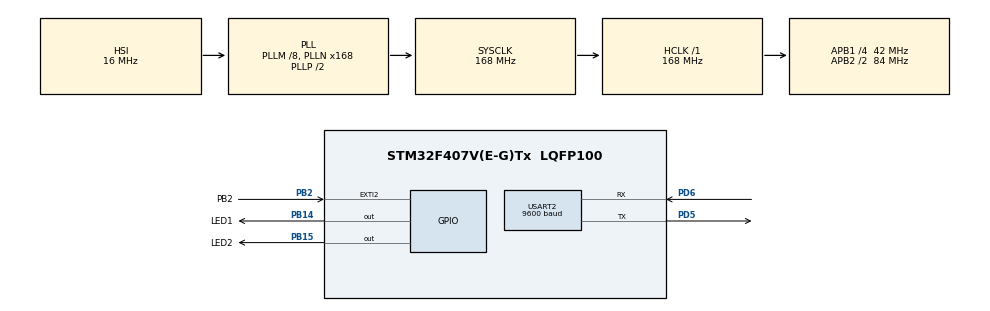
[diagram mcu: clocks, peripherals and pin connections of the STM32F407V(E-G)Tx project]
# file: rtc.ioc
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Mcu.Family=STM32F4
Mcu.Name=STM32F407V(E-G)Tx
Mcu.Package=LQFP100
NVIC.EXTI2_IRQn=true\:0\:0\:false\:false\:true\:true\:true
NVIC.PriorityGroup=NVIC_PRIORITYGROUP_4
NVIC.RTC_Alarm_IRQn=true\:0\:0\:false\:false\:true\:true\:true
PA13.Mode=Serial_Wire
PA13.Signal=SYS_JTMS-SWDIO
PA14.Mode=Serial_Wire
PA14.Signal=SYS_JTCK-SWCLK
PB14.GPIO_Label=LED1
PB14.Signal=GPIO_Output
PB15.GPIO_Label=LED2
PB15.Signal=GPIO_Output
PB2.GPIO_Label=PB2
PB2.GPIO_ModeDefaultEXTI=GPIO_MODE_IT_FALLING
PB2.GPIO_PuPd=GPIO_PULLUP
PB2.Signal=GPXTI2
PD5.Mode=Asynchronous
PD5.Signal=USART2_TX
PD6.Mode=Asynchronous
PD6.Signal=USART2_RX
ProjectManager.HeapSize=0x200
ProjectManager.StackSize=0x400
ProjectManager.TargetToolchain=MDK-ARM V5.27
RCC.48MHZClocksFreq_Value=84000000
RCC.AHBFreq_Value=168000000
RCC.APB1CLKDivider=RCC_HCLK_DIV4
RCC.APB1Freq_Value=42000000
RCC.APB1TimFreq_Value=84000000
RCC.APB2CLKDivider=RCC_HCLK_DIV2
RCC.APB2Freq_Value=84000000
RCC.APB2TimFreq_Value=168000000
RCC.CortexFreq_Value=168000000
RCC.HCLKFreq_Value=168000000
RCC.HSE_VALUE=25000000
RCC.HSI_VALUE=16000000
RCC.LSE_VALUE=32768
RCC.PLLM=8
RCC.PLLN=168
RCC.SYSCLKFreq_VALUE=168000000
RCC.SYSCLKSource=RCC_SYSCLKSOURCE_PLLCLK
RCC.VCOOutputFreq_Value=336000000
RTC.Alarm=RTC_ALARM_A
RTC.AlarmDateWeekDaySel=RTC_ALARMDATEWEEKDAYSEL_DATE
RTC.HourFormat=RTC_HOURFORMAT_24
RTC.Hours=2
RTC.Hours_A=2
RTC.Minutes=20
RTC.Minutes_A=20
RTC.Seconds_A=30
RTC.Year=21
USART2.BaudRate=9600
USART2.VirtualMode=VM_ASYNC
VP_RTC_VS_RTC_Activate.Mode=RTC_Enabled
VP_RTC_VS_RTC_Alarm_A_Intern.Mode=Alarm A
VP_RTC_VS_RTC_Calendar.Mode=RTC_Calendar
board=custom

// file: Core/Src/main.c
/* USER CODE BEGIN Header */
/**
  ******************************************************************************
  * @file           : main.c
  * @brief          : Main program body
  ******************************************************************************
  * @attention
  *
  * <h2><center>&copy; Copyright (c) 2021 STMicroelectronics.
  * All rights reserved.</center></h2>
  *
  * This software component is licensed by ST under BSD 3-Clause license,
  * the "License"; You may not use this file except in compliance with the
  * License. You may obtain a copy of the License at:
  *                        opensource.org/licenses/BSD-3-Clause
  *
  ******************************************************************************
  */
/* USER CODE END Header */
#include "main.h"
#include "rtc.h"
#include "usart.h"
#include "gpio.h"

/* USER CODE BEGIN Includes */
#include "string.h"
#include "stdio.h"
/* USER CODE END Includes */

/* USER CODE BEGIN PD */
struct __FILE { int handle; /* Add whatever you need here */ };
FILE __stdout;
FILE __stdin;

int fputc(int c, FILE *f) {
  return (HAL_UART_Transmit(&huart2,( uint8_t * )&c,1,1000));
}

int fgetc(FILE *f) {
	uint8_t c;
	HAL_UART_Receive(&huart2,&c,1,0xffff);
	return c;
}

int ferror(FILE *f) {
  /* Your implementation of ferror */
  return EOF;
}
/* USER CODE END PD */

/* USER CODE BEGIN PM */

volatile RTC_TimeTypeDef Time1,Time2;
char str[10];
uint32_t bkp;
int i;
RTC_TimeTypeDef Time;
RTC_DateTypeDef Date;
char segment = 0;
char seg_str[4];
int counter = 0;

/* USER CODE END PM */

void HAL_RTC_AlarmAEventCallback(RTC_HandleTypeDef *hrtc)
{
    HAL_GPIO_WritePin(LED1_GPIO_Port, LED1_Pin, GPIO_PIN_SET);
}

/* USER CODE BEGIN PV */
/**
  * @brief  EXTI line detection callbacks.
  * @param  GPIO_Pin Specifies the pins connected EXTI line
  * @retval None
  */
void HAL_GPIO_EXTI_Callback(uint16_t GPIO_Pin)
{
	  if(HAL_GPIO_ReadPin(PB2_GPIO_Port,PB2_Pin) == GPIO_PIN_RESET)
		{
			HAL_PWR_EnterSTANDBYMode();
		}

}

/* USER CODE END PV */

void SystemClock_Config(void);

/* USER CODE BEGIN 0 */
typedef void callback(void);

typedef struct softTimer {
 uint8_t state; //state
 uint8_t mode; //mode
 uint32_t match; //expiration time
 uint32_t period; // timing period
 callback *cb; //callback function pointer
}softTimer;

typedef enum tmrState {
 SOFT_TIMER_STOPPED = 0, //stop
 SOFT_TIMER_RUNNING, //Run
 SOFT_TIMER_TIMEOUT // timeout
}tmrState;

typedef enum tmrMode {
 MODE_ONE_SHOT = 0, // single mode
 MODE_PERIODIC, //cycle mode
}tmrMode;

#define TIMER_NUM 2

volatile softTimer timer[TIMER_NUM]; //software timer array

void softTimer_Init(void)
{
		uint16_t i;

		for(i=0; i<TIMER_NUM; i++)
		{
				timer[i].state = SOFT_TIMER_STOPPED;
				timer[i].mode = MODE_ONE_SHOT;
				timer[i].match = 0;
				timer[i].period = 0;
				timer[i].cb = NULL;
		}
}

void softTimer_Start(uint16_t id, tmrMode mode, uint32_t delay, callback *cb)
{
    timer[id].match = HAL_GetTick() + delay;
    timer[id].period = delay;
    timer[id].state = SOFT_TIMER_RUNNING;
    timer[id].mode = mode;
    timer[id].cb = cb;
}

void softTimer_Stop(uint16_t id)
{
    assert_param(id < TIMER_NUM);
    timer[id].state = SOFT_TIMER_STOPPED;
}

uint8_t softTimer_GetState(uint16_t id)
{
    return timer[id].state;
}

void softTimer_Update(void)
{
    uint16_t i;

    for(i=0; i<TIMER_NUM; i++) {
      switch (timer[i].state) {
          case SOFT_TIMER_STOPPED:
              break;

          case SOFT_TIMER_RUNNING:
              if(timer[i].match <= HAL_GetTick())
							{
                  timer[i].state = SOFT_TIMER_TIMEOUT;
								  timer[i].match = HAL_GetTick() + timer[i].period;
									timer[i].cb(); //Execute callback function
              }
              break;

          case SOFT_TIMER_TIMEOUT:
              if(timer[i].mode == MODE_ONE_SHOT) {
                  timer[i].state = SOFT_TIMER_STOPPED;
              } else {
                  //timer[i].match = HAL_GetTick() + timer[i].period;
                  timer[i].state = SOFT_TIMER_RUNNING;
              }
              break;

          default:
              break;
      }
  }

}

void display(char digit)
{
	HAL_GPIO_WritePin(A_7SEG_GPIO_Port,A_7SEG_Pin,GPIO_PIN_RESET);
	HAL_GPIO_WritePin(B_7SEG_GPIO_Port,B_7SEG_Pin,GPIO_PIN_RESET);
	HAL_GPIO_WritePin(C_7SEG_GPIO_Port,C_7SEG_Pin,GPIO_PIN_RESET);
	HAL_GPIO_WritePin(D_7SEG_GPIO_Port,D_7SEG_Pin,GPIO_PIN_RESET);
	HAL_GPIO_WritePin(E_7SEG_GPIO_Port,E_7SEG_Pin,GPIO_PIN_RESET);
	HAL_GPIO_WritePin(F_7SEG_GPIO_Port,F_7SEG_Pin,GPIO_PIN_RESET);
	HAL_GPIO_WritePin(G_7SEG_GPIO_Port,G_7SEG_Pin,GPIO_PIN_RESET);
	HAL_GPIO_WritePin(H_7SEG_GPIO_Port,H_7SEG_Pin,GPIO_PIN_RESET);
 switch (digit)
 {
	 case 0:
			HAL_GPIO_WritePin(A_7SEG_GPIO_Port,A_7SEG_Pin,GPIO_PIN_SET);
			HAL_GPIO_WritePin(B_7SEG_GPIO_Port,B_7SEG_Pin,GPIO_PIN_SET);
			HAL_GPIO_WritePin(C_7SEG_GPIO_Port,C_7SEG_Pin,GPIO_PIN_SET);
			HAL_GPIO_WritePin(D_7SEG_GPIO_Port,D_7SEG_Pin,GPIO_PIN_SET);
			HAL_GPIO_WritePin(E_7SEG_GPIO_Port,E_7SEG_Pin,GPIO_PIN_SET);
			HAL_GPIO_WritePin(F_7SEG_GPIO_Port,F_7SEG_Pin,GPIO_PIN_SET);
		 break;
	 case 1:
			HAL_GPIO_WritePin(B_7SEG_GPIO_Port,B_7SEG_Pin,GPIO_PIN_SET);
	    HAL_GPIO_WritePin(C_7SEG_GPIO_Port,C_7SEG_Pin,GPIO_PIN_SET);
		 break;
	 case 2:
			HAL_GPIO_WritePin(A_7SEG_GPIO_Port,A_7SEG_Pin,GPIO_PIN_SET);
			HAL_GPIO_WritePin(B_7SEG_GPIO_Port,B_7SEG_Pin,GPIO_PIN_SET);
			HAL_GPIO_WritePin(D_7SEG_GPIO_Port,D_7SEG_Pin,GPIO_PIN_SET);
			HAL_GPIO_WritePin(E_7SEG_GPIO_Port,E_7SEG_Pin,GPIO_PIN_SET);
	    HAL_GPIO_WritePin(G_7SEG_GPIO_Port,G_7SEG_Pin,GPIO_PIN_SET);
		 break;
	 case 3:
		 	HAL_GPIO_WritePin(A_7SEG_GPIO_Port,A_7SEG_Pin,GPIO_PIN_SET);
			HAL_GPIO_WritePin(B_7SEG_GPIO_Port,B_7SEG_Pin,GPIO_PIN_SET);
			HAL_GPIO_WritePin(C_7SEG_GPIO_Port,C_7SEG_Pin,GPIO_PIN_SET);
			HAL_GPIO_WritePin(D_7SEG_GPIO_Port,D_7SEG_Pin,GPIO_PIN_SET);
	    HAL_GPIO_WritePin(G_7SEG_GPIO_Port,G_7SEG_Pin,GPIO_PIN_SET);
		 break;
	 case 4:
			HAL_GPIO_WritePin(B_7SEG_GPIO_Port,B_7SEG_Pin,GPIO_PIN_SET);
			HAL_GPIO_WritePin(C_7SEG_GPIO_Port,C_7SEG_Pin,GPIO_PIN_SET);
			HAL_GPIO_WritePin(F_7SEG_GPIO_Port,F_7SEG_Pin,GPIO_PIN_SET);
	    HAL_GPIO_WritePin(G_7SEG_GPIO_Port,G_7SEG_Pin,GPIO_PIN_SET);
		 break;
	 case 5:
		 	HAL_GPIO_WritePin(A_7SEG_GPIO_Port,A_7SEG_Pin,GPIO_PIN_SET);
			HAL_GPIO_WritePin(C_7SEG_GPIO_Port,C_7SEG_Pin,GPIO_PIN_SET);
			HAL_GPIO_WritePin(D_7SEG_GPIO_Port,D_7SEG_Pin,GPIO_PIN_SET);
			HAL_GPIO_WritePin(F_7SEG_GPIO_Port,F_7SEG_Pin,GPIO_PIN_SET);
	    HAL_GPIO_WritePin(G_7SEG_GPIO_Port,G_7SEG_Pin,GPIO_PIN_SET);
		 break;
	 case 6:
		 	HAL_GPIO_WritePin(A_7SEG_GPIO_Port,A_7SEG_Pin,GPIO_PIN_SET);
			HAL_GPIO_WritePin(C_7SEG_GPIO_Port,C_7SEG_Pin,GPIO_PIN_SET);
			HAL_GPIO_WritePin(D_7SEG_GPIO_Port,D_7SEG_Pin,GPIO_PIN_SET);
			HAL_GPIO_WritePin(E_7SEG_GPIO_Port,E_7SEG_Pin,GPIO_PIN_SET);
			HAL_GPIO_WritePin(F_7SEG_GPIO_Port,F_7SEG_Pin,GPIO_PIN_SET);
	    HAL_GPIO_WritePin(G_7SEG_GPIO_Port,G_7SEG_Pin,GPIO_PIN_SET);
		 break;
	 case 7:
		 	HAL_GPIO_WritePin(A_7SEG_GPIO_Port,A_7SEG_Pin,GPIO_PIN_SET);
			HAL_GPIO_WritePin(B_7SEG_GPIO_Port,B_7SEG_Pin,GPIO_PIN_SET);
			HAL_GPIO_WritePin(C_7SEG_GPIO_Port,C_7SEG_Pin,GPIO_PIN_SET);
		 break;
	 case 8:
		 	HAL_GPIO_WritePin(A_7SEG_GPIO_Port,A_7SEG_Pin,GPIO_PIN_SET);
			HAL_GPIO_WritePin(B_7SEG_GPIO_Port,B_7SEG_Pin,GPIO_PIN_SET);
			HAL_GPIO_WritePin(C_7SEG_GPIO_Port,C_7SEG_Pin,GPIO_PIN_SET);
			HAL_GPIO_WritePin(D_7SEG_GPIO_Port,D_7SEG_Pin,GPIO_PIN_SET);
			HAL_GPIO_WritePin(E_7SEG_GPIO_Port,E_7SEG_Pin,GPIO_PIN_SET);
			HAL_GPIO_WritePin(F_7SEG_GPIO_Port,F_7SEG_Pin,GPIO_PIN_SET);
	    HAL_GPIO_WritePin(G_7SEG_GPIO_Port,G_7SEG_Pin,GPIO_PIN_SET);
		 break;
	 case 9:
		 	HAL_GPIO_WritePin(A_7SEG_GPIO_Port,A_7SEG_Pin,GPIO_PIN_SET);
			HAL_GPIO_WritePin(B_7SEG_GPIO_Port,B_7SEG_Pin,GPIO_PIN_SET);
			HAL_GPIO_WritePin(C_7SEG_GPIO_Port,C_7SEG_Pin,GPIO_PIN_SET);
			HAL_GPIO_WritePin(D_7SEG_GPIO_Port,D_7SEG_Pin,GPIO_PIN_SET);
			HAL_GPIO_WritePin(F_7SEG_GPIO_Port,F_7SEG_Pin,GPIO_PIN_SET);
	    HAL_GPIO_WritePin(G_7SEG_GPIO_Port,G_7SEG_Pin,GPIO_PIN_SET);
		 break;
 }
}

/**
  * @brief  Period elapsed callback in non blocking mode
  * @param  htim : TIM handle
  * @retval None
  */
void segment_callback(void)
{
        switch(segment)
				{
					case 0:
								HAL_GPIO_WritePin(K1_7SEG_GPIO_Port,K1_7SEG_Pin,GPIO_PIN_RESET);
								HAL_GPIO_WritePin(K1_7SEG_GPIO_Port,K2_7SEG_Pin | K3_7SEG_Pin | K4_7SEG_Pin,GPIO_PIN_SET);
								display(seg_str[3] - 0x30);
						break;
					case 1:
								HAL_GPIO_WritePin(K2_7SEG_GPIO_Port,K2_7SEG_Pin,GPIO_PIN_RESET);
								HAL_GPIO_WritePin(K1_7SEG_GPIO_Port,K1_7SEG_Pin | K3_7SEG_Pin | K4_7SEG_Pin,GPIO_PIN_SET);
								display(seg_str[2] - 0x30);
						break;
					case 2:
								HAL_GPIO_WritePin(K3_7SEG_GPIO_Port,K3_7SEG_Pin,GPIO_PIN_RESET);
								HAL_GPIO_WritePin(K1_7SEG_GPIO_Port,K1_7SEG_Pin | K2_7SEG_Pin | K4_7SEG_Pin,GPIO_PIN_SET);
								display(seg_str[1] - 0x30);
						break;
					case 3:
								HAL_GPIO_WritePin(K4_7SEG_GPIO_Port,K4_7SEG_Pin,GPIO_PIN_RESET);
								HAL_GPIO_WritePin(K1_7SEG_GPIO_Port,K1_7SEG_Pin | K2_7SEG_Pin | K3_7SEG_Pin,GPIO_PIN_SET);
								display(seg_str[0] - 0x30);
						break;

				}
					segment++;
					if(segment == 4) segment = 0;
}

void rtc_show(void)
{
    HAL_RTC_GetTime(&hrtc,&Time2,RTC_FORMAT_BIN);
	  sprintf(seg_str,"%2d%2d",Time2.Minutes,Time2.Seconds);
}

void  segment_init(void) {

	GPIO_InitTypeDef GPIO_InitStruct = {0};

  __HAL_RCC_GPIOH_CLK_ENABLE();
  __HAL_RCC_GPIOE_CLK_ENABLE();
  __HAL_RCC_GPIOD_CLK_ENABLE();
  __HAL_RCC_GPIOA_CLK_ENABLE();

  /*Configure GPIO pin Output Level */
  HAL_GPIO_WritePin(GPIOE, E_7SEG_Pin|F_7SEG_Pin|G_7SEG_Pin|H_7SEG_Pin
                          |K1_7SEG_Pin|K3_7SEG_Pin|K2_7SEG_Pin|K4_7SEG_Pin, GPIO_PIN_RESET);

  /*Configure GPIO pin Output Level */
  HAL_GPIO_WritePin(GPIOD, A_7SEG_Pin|B_7SEG_Pin|C_7SEG_Pin|D_7SEG_Pin, GPIO_PIN_RESET);

  /*Configure GPIO pins : PEPin PEPin PEPin PEPin
                           PEPin PEPin PEPin PEPin */
  GPIO_InitStruct.Pin = E_7SEG_Pin|F_7SEG_Pin|G_7SEG_Pin|H_7SEG_Pin
                          |K1_7SEG_Pin|K3_7SEG_Pin|K2_7SEG_Pin|K4_7SEG_Pin;
  GPIO_InitStruct.Mode = GPIO_MODE_OUTPUT_PP;
  GPIO_InitStruct.Pull = GPIO_NOPULL;
  GPIO_InitStruct.Speed = GPIO_SPEED_FREQ_LOW;
  HAL_GPIO_Init(GPIOE, &GPIO_InitStruct);

  /*Configure GPIO pins : PDPin PDPin PDPin PDPin */
  GPIO_InitStruct.Pin = A_7SEG_Pin|B_7SEG_Pin|C_7SEG_Pin|D_7SEG_Pin;
  GPIO_InitStruct.Mode = GPIO_MODE_OUTPUT_PP;
  GPIO_InitStruct.Pull = GPIO_NOPULL;
  GPIO_InitStruct.Speed = GPIO_SPEED_FREQ_LOW;
  HAL_GPIO_Init(GPIOD, &GPIO_InitStruct);
}
/* USER CODE END 0 */

int main(void)
{

  /* MCU Configuration--------------------------------------------------------*/

  /* Reset of all peripherals, Initializes the Flash interface and the Systick. */
  HAL_Init();

  /* Configure the system clock */
  SystemClock_Config();

  /* Initialize all configured peripherals */
  MX_GPIO_Init();
  MX_RTC_Init();
  MX_USART2_UART_Init();
  /* USER CODE BEGIN 2 */
	HAL_Delay(100);
	segment_init();
//	seg_str[0] = '0';
	//HAL_RTCEx_BKUPWrite(&hrtc,0,0);
	bkp = HAL_RTCEx_BKUPRead(&hrtc,0);
	if( bkp != 20 )
	{
		printf("plz set time & date of systeam \n\r");

		printf ("Enter Hour: ");
		scanf ("%x",&i);
		Time.Hours = (uint8_t)i;

		printf ("Enter Minutes: ");
		scanf ("%x",&i);
		Time.Minutes = (uint8_t)i;

		printf ("Enter Seconds: ");
		scanf ("%x",&i);
		Time.Seconds = (uint8_t)i;

		HAL_RTC_SetTime(&hrtc,&Time,RTC_FORMAT_BCD);

		printf ("Enter Year: ");
		scanf ("%x",&i);
		Date.Year = (uint8_t)i;

		printf ("Enter Month: ");
		scanf ("%x",&i);
		Date.Month = (uint8_t)i;

		printf ("Enter Date: ");
		scanf ("%x",&i);
		Date.Date = (uint8_t)i;

		HAL_RTC_SetDate(&hrtc,&Date,RTC_FORMAT_BCD);

		HAL_RTCEx_BKUPWrite(&hrtc,0,20);
  }

	softTimer_Start(0, MODE_PERIODIC, 1000, rtc_show);
  softTimer_Start(1, MODE_PERIODIC, 2,  segment_callback);

  /* USER CODE END 2 */

  /* Infinite loop */
  while (1)
  {

    /* USER CODE BEGIN 3 */

		softTimer_Update();
		//HAL_Delay(100);
  }
  /* USER CODE END 3 */
}

void SystemClock_Config(void)
{
  RCC_OscInitTypeDef RCC_OscInitStruct = {0};
  RCC_ClkInitTypeDef RCC_ClkInitStruct = {0};
  RCC_PeriphCLKInitTypeDef PeriphClkInitStruct = {0};

  /** Configure the main internal regulator output voltage
  */
  __HAL_RCC_PWR_CLK_ENABLE();
  __HAL_PWR_VOLTAGESCALING_CONFIG(PWR_REGULATOR_VOLTAGE_SCALE1);
  /** Initializes the RCC Oscillators according to the specified parameters
  * in the RCC_OscInitTypeDef structure.
  */
  RCC_OscInitStruct.OscillatorType = RCC_OSCILLATORTYPE_HSI|RCC_OSCILLATORTYPE_LSI;
  RCC_OscInitStruct.HSIState = RCC_HSI_ON;
  RCC_OscInitStruct.HSICalibrationValue = RCC_HSICALIBRATION_DEFAULT;
  RCC_OscInitStruct.LSIState = RCC_LSI_ON;
  RCC_OscInitStruct.PLL.PLLState = RCC_PLL_ON;
  RCC_OscInitStruct.PLL.PLLSource = RCC_PLLSOURCE_HSI;
  RCC_OscInitStruct.PLL.PLLM = 8;
  RCC_OscInitStruct.PLL.PLLN = 168;
  RCC_OscInitStruct.PLL.PLLP = RCC_PLLP_DIV2;
  RCC_OscInitStruct.PLL.PLLQ = 4;
  if (HAL_RCC_OscConfig(&RCC_OscInitStruct) != HAL_OK)
  {
    Error_Handler();
  }
  /** Initializes the CPU, AHB and APB buses clocks
  */
  RCC_ClkInitStruct.ClockType = RCC_CLOCKTYPE_HCLK|RCC_CLOCKTYPE_SYSCLK
                              |RCC_CLOCKTYPE_PCLK1|RCC_CLOCKTYPE_PCLK2;
  RCC_ClkInitStruct.SYSCLKSource = RCC_SYSCLKSOURCE_PLLCLK;
  RCC_ClkInitStruct.AHBCLKDivider = RCC_SYSCLK_DIV1;
  RCC_ClkInitStruct.APB1CLKDivider = RCC_HCLK_DIV4;
  RCC_ClkInitStruct.APB2CLKDivider = RCC_HCLK_DIV2;

  if (HAL_RCC_ClockConfig(&RCC_ClkInitStruct, FLASH_LATENCY_5) != HAL_OK)
  {
    Error_Handler();
  }
  PeriphClkInitStruct.PeriphClockSelection = RCC_PERIPHCLK_RTC;
  PeriphClkInitStruct.RTCClockSelection = RCC_RTCCLKSOURCE_LSI;
  if (HAL_RCCEx_PeriphCLKConfig(&PeriphClkInitStruct) != HAL_OK)
  {
    Error_Handler();
  }
}

void Error_Handler(void)
{
  __disable_irq();
  while (1)
  {
  }
}

/************************ (C) COPYRIGHT STMicroelectronics *****END OF FILE****/
